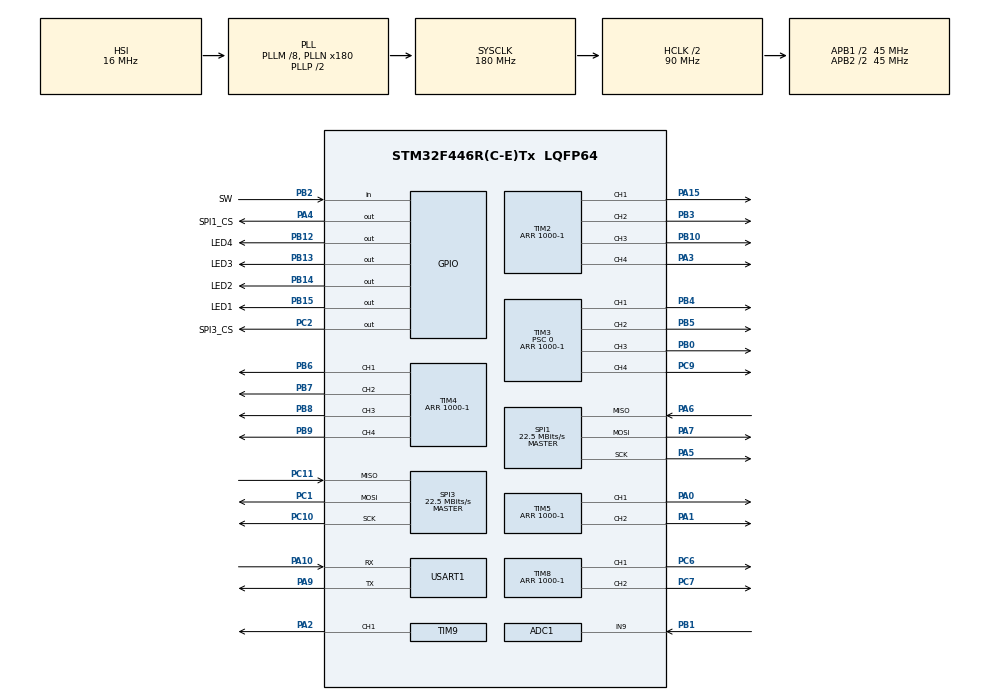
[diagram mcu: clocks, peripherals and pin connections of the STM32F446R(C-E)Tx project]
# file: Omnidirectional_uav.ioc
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ADC1.Channel-4\#ChannelRegularConversion=ADC_CHANNEL_9
ADC1.NbrOfConversionFlag=1
ADC1.Rank-4\#ChannelRegularConversion=1
ADC1.SamplingTime-4\#ChannelRegularConversion=ADC_SAMPLETIME_3CYCLES
ADC1.master=1
Dma.Request0=USART1_RX
Dma.USART1_RX.0.Direction=DMA_PERIPH_TO_MEMORY
Dma.USART1_RX.0.FIFOMode=DMA_FIFOMODE_DISABLE
Dma.USART1_RX.0.Instance=DMA2_Stream2
Dma.USART1_RX.0.MemDataAlignment=DMA_MDATAALIGN_BYTE
Dma.USART1_RX.0.MemInc=DMA_MINC_ENABLE
Dma.USART1_RX.0.Mode=DMA_CIRCULAR
Dma.USART1_RX.0.PeriphDataAlignment=DMA_PDATAALIGN_BYTE
Dma.USART1_RX.0.PeriphInc=DMA_PINC_DISABLE
Dma.USART1_RX.0.Priority=DMA_PRIORITY_LOW
Mcu.Family=STM32F4
Mcu.Name=STM32F446R(C-E)Tx
Mcu.Package=LQFP64
NVIC.DMA2_Stream2_IRQn=true\:0\:0\:false\:false\:true\:false\:true\:true
NVIC.PriorityGroup=NVIC_PRIORITYGROUP_4
NVIC.TIM1_UP_TIM10_IRQn=true\:0\:0\:false\:false\:true\:true\:true\:true
NVIC.TIM8_BRK_TIM12_IRQn=true\:0\:0\:false\:false\:true\:true\:true\:true
NVIC.USART1_IRQn=true\:0\:0\:false\:false\:true\:true\:true\:true
PA0-WKUP.Signal=S_TIM5_CH1
PA1.Signal=S_TIM5_CH2
PA10.Mode=Asynchronous
PA10.Signal=USART1_RX
PA13.Mode=Serial_Wire
PA13.Signal=SYS_JTMS-SWDIO
PA14.Mode=Serial_Wire
PA14.Signal=SYS_JTCK-SWCLK
PA15.Signal=S_TIM2_CH1_ETR
PA2.Signal=S_TIM9_CH1
PA3.Signal=S_TIM2_CH4
PA4.GPIO_Label=SPI1_CS
PA4.Signal=GPIO_Output
PA5.Mode=Full_Duplex_Master
PA5.Signal=SPI1_SCK
PA6.Mode=Full_Duplex_Master
PA6.Signal=SPI1_MISO
PA7.Mode=Full_Duplex_Master
PA7.Signal=SPI1_MOSI
PA9.Mode=Asynchronous
PA9.Signal=USART1_TX
PB0.Signal=S_TIM3_CH3
PB1.Signal=ADCx_IN9
PB10.Signal=S_TIM2_CH3
PB12.GPIO_Label=LED4
PB12.Signal=GPIO_Output
PB13.GPIO_Label=LED3
PB13.Signal=GPIO_Output
PB14.GPIO_Label=LED2
PB14.Signal=GPIO_Output
PB15.GPIO_Label=LED1
PB15.Signal=GPIO_Output
PB2.GPIO_Label=SW
PB2.Signal=GPIO_Input
PB3.Signal=S_TIM2_CH2
PB4.Signal=S_TIM3_CH1
PB5.Signal=S_TIM3_CH2
PB6.Signal=S_TIM4_CH1
PB7.Signal=S_TIM4_CH2
PB8.Signal=S_TIM4_CH3
PB9.Signal=S_TIM4_CH4
PC1.Mode=Full_Duplex_Master
PC1.Signal=SPI3_MOSI
PC10.Mode=Full_Duplex_Master
PC10.Signal=SPI3_SCK
PC11.Mode=Full_Duplex_Master
PC11.Signal=SPI3_MISO
PC2.GPIO_Label=SPI3_CS
PC2.Signal=GPIO_Output
PC6.Signal=S_TIM8_CH1
PC7.Signal=S_TIM8_CH2
PC9.Signal=S_TIM3_CH4
ProjectManager.HeapSize=0x200
ProjectManager.StackSize=0x400
ProjectManager.TargetToolchain=Makefile
RCC.AHBCLKDivider=RCC_SYSCLK_DIV2
RCC.AHBFreq_Value=90000000
RCC.APB1CLKDivider=RCC_HCLK_DIV2
RCC.APB1Freq_Value=45000000
RCC.APB1TimFreq_Value=90000000
RCC.APB2CLKDivider=RCC_HCLK_DIV2
RCC.APB2Freq_Value=45000000
RCC.APB2TimFreq_Value=90000000
RCC.CortexFreq_Value=90000000
RCC.HCLKFreq_Value=90000000
RCC.PLLM=8
RCC.PLLN=180
RCC.SYSCLKFreq_VALUE=180000000
RCC.SYSCLKSource=RCC_SYSCLKSOURCE_PLLCLK
RCC.USBFreq_Value=180000000
RCC.VCOOutputFreq_Value=360000000
SH.ADCx_IN9.0=ADC1_IN9,IN9
SH.S_TIM2_CH1_ETR.0=TIM2_CH1,PWM Generation1 CH1
SH.S_TIM2_CH2.0=TIM2_CH2,PWM Generation2 CH2
SH.S_TIM2_CH3.0=TIM2_CH3,PWM Generation3 CH3
SH.S_TIM2_CH4.0=TIM2_CH4,PWM Generation4 CH4
SH.S_TIM3_CH1.0=TIM3_CH1,PWM Generation1 CH1
SH.S_TIM3_CH2.0=TIM3_CH2,PWM Generation2 CH2
SH.S_TIM3_CH3.0=TIM3_CH3,PWM Generation3 CH3
SH.S_TIM3_CH4.0=TIM3_CH4,PWM Generation4 CH4
SH.S_TIM4_CH1.0=TIM4_CH1,PWM Generation1 CH1
SH.S_TIM4_CH2.0=TIM4_CH2,PWM Generation2 CH2
SH.S_TIM4_CH3.0=TIM4_CH3,PWM Generation3 CH3
SH.S_TIM4_CH4.0=TIM4_CH4,PWM Generation4 CH4
SH.S_TIM5_CH1.0=TIM5_CH1,PWM Generation1 CH1
SH.S_TIM5_CH2.0=TIM5_CH2,PWM Generation2 CH2
SH.S_TIM8_CH1.0=TIM8_CH1,PWM Generation1 CH1
SH.S_TIM8_CH2.0=TIM8_CH2,PWM Generation2 CH2
SH.S_TIM9_CH1.0=TIM9_CH1,PWM Generation1 CH1
SPI1.CalculateBaudRate=22.5 MBits/s
SPI1.Direction=SPI_DIRECTION_2LINES
SPI1.Mode=SPI_MODE_MASTER
SPI1.VirtualType=VM_MASTER
SPI3.BaudRatePrescaler=SPI_BAUDRATEPRESCALER_2
SPI3.CalculateBaudRate=22.5 MBits/s
SPI3.Direction=SPI_DIRECTION_2LINES
SPI3.Mode=SPI_MODE_MASTER
SPI3.VirtualType=VM_MASTER
TIM1.Period=10000-1
TIM1.Prescaler=900-1
TIM12.Period=10000-1
TIM12.Prescaler=90-1
TIM2.Channel-PWM\ Generation1\ CH1=TIM_CHANNEL_1
TIM2.Channel-PWM\ Generation2\ CH2=TIM_CHANNEL_2
TIM2.Channel-PWM\ Generation3\ CH3=TIM_CHANNEL_3
TIM2.Channel-PWM\ Generation4\ CH4=TIM_CHANNEL_4
TIM2.Period=1000-1
TIM3.Channel-PWM\ Generation1\ CH1=TIM_CHANNEL_1
TIM3.Channel-PWM\ Generation2\ CH2=TIM_CHANNEL_2
TIM3.Channel-PWM\ Generation3\ CH3=TIM_CHANNEL_3
TIM3.Channel-PWM\ Generation4\ CH4=TIM_CHANNEL_4
TIM3.Period=1000-1
TIM3.Prescaler=0
TIM4.Channel-PWM\ Generation1\ CH1=TIM_CHANNEL_1
TIM4.Channel-PWM\ Generation2\ CH2=TIM_CHANNEL_2
TIM4.Channel-PWM\ Generation3\ CH3=TIM_CHANNEL_3
TIM4.Channel-PWM\ Generation4\ CH4=TIM_CHANNEL_4
TIM4.Period=1000-1
TIM5.Channel-PWM\ Generation1\ CH1=TIM_CHANNEL_1
TIM5.Channel-PWM\ Generation2\ CH2=TIM_CHANNEL_2
TIM5.Period=1000-1
TIM8.Channel-PWM\ Generation1\ CH1=TIM_CHANNEL_1
TIM8.Channel-PWM\ Generation2\ CH2=TIM_CHANNEL_2
TIM8.Period=1000-1
TIM9.Channel-PWM\ Generation1\ CH1=TIM_CHANNEL_1
TIM9.Period=1000-1
TIM9.Prescaler=90-1
USART1.VirtualMode=VM_ASYNC
VP_TIM12_VS_ClockSourceINT.Mode=Internal
VP_TIM1_VS_ClockSourceINT.Mode=Internal
board=custom

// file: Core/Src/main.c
/* USER CODE BEGIN Header */
/**
 ******************************************************************************
 * @file           : main.c
 * @brief          : Main program body
 ******************************************************************************
 * @attention
 *
 * Copyright (c) 2022 STMicroelectronics.
 * All rights reserved.
 *
 * This software is licensed under terms that can be found in the LICENSE file
 * in the root directory of this software component.
 * If no LICENSE file comes with this software, it is provided AS-IS.
 *
 ******************************************************************************
 */
/* USER CODE END Header */
#include "main.h"
#include "adc.h"
#include "dma.h"
#include "spi.h"
#include "tim.h"
#include "usart.h"
#include "gpio.h"

/* USER CODE BEGIN Includes */
#include "mpu9250.h"
#include "lps25hb.h"
#include "speaker.h"
#include "ahrs.h"
#include "control.h"
/* USER CODE END Includes */

void SystemClock_Config(void);

/* USER CODE BEGIN 0 */
float bat_vol;
const float bat_vol_lim = 7.0f; //[V]
float pressure;
AxesRaw acc, gyro, mag;
AHRS_State ahrs;
MotorInput motor_input;

int count = 0;
extern float bat_vol;
// extern float pressure;
extern AxesRaw acc, gyro, mag;
extern AHRS_State ahrs;

void OutputLog()
{
  // printf("%.3f\r\n", ahrs.euler.y);
  // printf("%.3f\r\n", -atan2(acc.y, -acc.z));
  // printf("%.3f\t%.3f\t%.3f\r\n", ahrs.euler.x, ahrs.euler.y, ahrs.euler.z);

  // float roll = -atan2(acc.y, -acc.z);
  // float pitch = atan2(acc.x, Sqrt(acc.y * acc.y + acc.z * acc.z));
  // float yaw = atan2((-mag.y * cos(roll) + mag.z * sin(roll)), (mag.x * cos(pitch) + mag.y * sin(roll) * sin(pitch) + mag.z * cos(roll) * sin(pitch)));
  // printf("%.3f\r\n", yaw);

  // for magnetometer calibration
  // ReadRawMag(&mag);
  // printf("%.3f, %.3f, %.3f\n", mag.x, mag.y, mag.z);

  // for 2-point suspention
  // printf("%f\n", gyro.x);

  // for measurement of the rotation velocity of propeller
  // about 2.27 [V] max
  // motor_input.voltage[0] = 0.3; // [V]
  // Voltage2Duty(&motor_input, bat_vol);
  // DriveMotor(&motor1, &motor2, &motor3, &motor4,
  //            &motor5, &motor6, &motor7, &motor8, &motor_input);
  // printf("%.3f, %.3f\n", bat_vol, motor_input.duty[0]);

  // printf("%f, %f, %f\n", acc.x, acc.y, acc.z);
  // printf("%f, %f, %f\n", gyro.x, gyro.y, gyro.z);
  // printf("%.3f\r\n", gyro.x);
  // printf("%.3f, %.3f, %.3f\n", mag.x, mag.y, mag.z);
  // printf("%.3f\t%.3f\t%.3f\t%.3f\t\r\n", ahrs.q.q0, ahrs.q.q1, ahrs.q.q2, ahrs.q.q3);

  // printf("pressure = %f\n", pressure);
  // printf("battery = %f\n", bat_vol);

  // printf("%.3f\t%.3f\t%.3f\t%.3f\t%.3f\t%.3f\t%.3f\t%.3f\t\r\n", motor_input.voltage[0], motor_input.voltage[1], motor_input.voltage[2], motor_input.voltage[3],
  //        motor_input.voltage[4], motor_input.voltage[5], motor_input.voltage[6], motor_input.voltage[7]);
  // printf("%.3f\t%.3f\t%.3f\t%.3f\t%.3f\t%.3f\t%.3f\t%.3f\t\r\n", coeff_Fprop[0], coeff_Fprop[1], coeff_Fprop[2], coeff_Fprop[3], coeff_Fprop[4], coeff_Fprop[5], coeff_Fprop[6], coeff_Fprop[7]);
  // printf("%.3f, %.3f, %.3f, %.3f, %.3f, %.3f, %.3f, %.3f\n", coeff_Fprop[0], coeff_Fprop[1], coeff_Fprop[2], coeff_Fprop[3],
  //        coeff_Fprop[4], coeff_Fprop[5], coeff_Fprop[6], coeff_Fprop[7]);

  // printf("invert mode = %d\n", inverted_mode);

  // motor_input.velocity[0] = 100.0; // [rps]
  // CalcInputVoltage(&motor_input);
  // motor_input.voltage[0] = 0.5; // [V]
  // Voltage2Duty(&motor_input, bat_vol);
  // printf("%.3f, %.3f, %.3f, %.3f, %.3f, %.3f, %.3f, %.3f\r\n", motor_input.voltage[0], motor_input.voltage[1], motor_input.voltage[2], motor_input.voltage[3],
  //        motor_input.voltage[4], motor_input.voltage[5], motor_input.voltage[6], motor_input.voltage[7]);
  // printf("%.3f, %.3f, %.3f, %.3f, %.3f, %.3f, %.3f, %.3f\r\n", motor_input.duty[0], motor_input.duty[1], motor_input.duty[2], motor_input.duty[3],
  //        motor_input.duty[4], motor_input.duty[5], motor_input.duty[6], motor_input.duty[7]);

  printf("%.3f, %.3f, %.3f, %.3f, %.3f, %.3f,%.3f, %.3f, %.3f, %.3f, %.3f, %.3f, %.3f\r\n",
         -M_PI / 4.0f - ahrs.euler.y, ahrs.gy, err_pitch_sum, coeff_Tdes[1], bat_vol, motor_input.velocity[0], motor_input.velocity[1], motor_input.velocity[2], motor_input.velocity[3], motor_input.velocity[4], motor_input.velocity[5], motor_input.velocity[6], motor_input.velocity[7]);
}

void HAL_TIM_PeriodElapsedCallback(TIM_HandleTypeDef *htim)
{
  if (htim->Instance == TIM1) // 20Hz interruption
  {
    // UpdateQuaternionControl(&ahrs, &motor_input, &bat_vol);
  }
  if (htim->Instance == TIM12) // 100Hz interruption
  {
    ReadBatteryVoltage(&bat_vol);
    // ReadPressure(&pressure);
    ReadSensor(&acc, &gyro, &mag);
    UpdateAHRS(&acc, &gyro, &mag, &ahrs);
    UpdateControl(&ahrs, &motor_input, bat_vol);

    if (bat_vol > bat_vol_lim)
    {
      Write_GPIO(USER_LED1, 1);
      DriveMotor(&motor1, &motor2, &motor3, &motor4,
                 &motor5, &motor6, &motor7, &motor8, &motor_input);
    }
    else
    {
      Write_GPIO(USER_LED1, 0);
      BrakeMotor(&motor1, &motor2, &motor3, &motor4, &motor5, &motor6, &motor7, &motor8);
    }

    count = (count + 1) % 100;

    if (count == 0) // 1Hz
    {
      Write_GPIO(USER_LED4, 1);
    }
    else
    {
      Write_GPIO(USER_LED4, 0);
    }

    if (count % 20 == 0)
    {
      OutputLog();
    }
  }
}

/* USER CODE END 0 */

int main(void)
{

  /* MCU Configuration--------------------------------------------------------*/

  /* Reset of all peripherals, Initializes the Flash interface and the Systick. */
  HAL_Init();

  /* Configure the system clock */
  SystemClock_Config();

  /* Initialize all configured peripherals */
  MX_GPIO_Init();
  MX_DMA_Init();
  MX_ADC1_Init();
  MX_SPI1_Init();
  MX_TIM1_Init();
  MX_TIM2_Init();
  MX_TIM3_Init();
  MX_TIM4_Init();
  MX_TIM5_Init();
  MX_TIM8_Init();
  MX_TIM9_Init();
  MX_USART1_UART_Init();
  MX_SPI3_Init();
  MX_TIM12_Init();
  /* USER CODE BEGIN 2 */
  Write_GPIO(USER_LED1, 1);
  Motor_TIM_Init();
  Speaker_TIM_Init();

  // start initialization
  Write_GPIO(USER_LED2, 1);
  ReadBatteryVoltage(&bat_vol);
  printf("battery = %f\n", bat_vol);
  InitializeIMU();
  Initialize_LPS25HB();
  CalcAccOffset(&acc);
  CalcGyroOffset(&gyro);
  SetInitialMag(&mag);
  InitializeAHRS(&ahrs);
  InitializeController();
  Write_GPIO(USER_LED2, 0);
  Write_GPIO(USER_LED3, 1);
  TestMotor(&motor1, &motor2, &motor3, &motor4, &motor5, &motor6, &motor7, &motor8);
  Write_GPIO(USER_LED3, 0);

  // float duty = 200;
  // TestMatrix();
  // for (int i = 0; i < 1000; i++)
  // {
  //   UpdateMadgwickFilterIMU(&acc, &gyro, &ahrs);
  //   printf("%.3f\t%.3f\t%.3f\t%.3f\t\r\n", ahrs.q.q0, ahrs.q.q1, ahrs.q.q2, ahrs.q.q3);
  // }

  HAL_TIM_Base_Start_IT(&htim1);
  HAL_TIM_Base_Start_IT(&htim12);
  HAL_UART_Receive_DMA(&huart1, RdBuff, RCV_BUFF_SIZE);
  // inverted_mode = 1;

  /* USER CODE END 2 */

  /* Infinite loop */
  while (1)
  {

    /* USER CODE BEGIN 3 */
    if (Read_GPIO(USER_SW) == 1)
    {
      // BrakeMotor(&motor1, &motor2, &motor3, &motor4, &motor5, &motor6, &motor7, &motor8);
    }
    else
    {
      inverted_mode = 0;
      // if (inverted_mode == 0)
      // {
      //   inverted_mode = 1;
      //   Write_GPIO(USER_LED3, 1);
      // }
      // else if (inverted_mode == 1)
      // {
      //   inverted_mode = 0;
      //   Write_GPIO(USER_LED3, 0);
      // }

      // float duty = 200;
      // HAL_Delay(2000);
      // PWM_Update(&motor1, duty);
      // PWM_Update(&motor2, duty);
      // PWM_Update(&motor3, duty);
      // PWM_Update(&motor4, duty);
      // PWM_Update(&motor5, duty);
      // PWM_Update(&motor6, duty);
      // PWM_Update(&motor7, duty);
      // PWM_Update(&motor8, duty);
      // HAL_Delay(2000);
    }

    // if (rdUart(&rdData) == TRUE)
    // {
    //   SdBuff[rcvLength++] = rdData;
    //   if ((rdData == CHAR_LF) || (rcvLength >= SND_BUFF_SIZE))
    //   {
    //     HAL_UART_Transmit(&huart1, SdBuff, rcvLength, 0xFFFF);
    //     if (Compare_Stop(SdBuff) == TRUE)
    //     {
    //       Write_GPIO(USER_LED2, 1);
    //     }
    //     else
    //     {
    //       Write_GPIO(USER_LED2, 0);
    //     }
    //     rcvLength = 0;
    //   }
    // }
  }
  /* USER CODE END 3 */
}

void SystemClock_Config(void)
{
  RCC_OscInitTypeDef RCC_OscInitStruct = {0};
  RCC_ClkInitTypeDef RCC_ClkInitStruct = {0};

  /** Configure the main internal regulator output voltage
   */
  __HAL_RCC_PWR_CLK_ENABLE();
  __HAL_PWR_VOLTAGESCALING_CONFIG(PWR_REGULATOR_VOLTAGE_SCALE3);

  /** Initializes the RCC Oscillators according to the specified parameters
   * in the RCC_OscInitTypeDef structure.
   */
  RCC_OscInitStruct.OscillatorType = RCC_OSCILLATORTYPE_HSI;
  RCC_OscInitStruct.HSIState = RCC_HSI_ON;
  RCC_OscInitStruct.HSICalibrationValue = RCC_HSICALIBRATION_DEFAULT;
  RCC_OscInitStruct.PLL.PLLState = RCC_PLL_ON;
  RCC_OscInitStruct.PLL.PLLSource = RCC_PLLSOURCE_HSI;
  RCC_OscInitStruct.PLL.PLLM = 8;
  RCC_OscInitStruct.PLL.PLLN = 180;
  RCC_OscInitStruct.PLL.PLLP = RCC_PLLP_DIV2;
  RCC_OscInitStruct.PLL.PLLQ = 2;
  RCC_OscInitStruct.PLL.PLLR = 2;
  if (HAL_RCC_OscConfig(&RCC_OscInitStruct) != HAL_OK)
  {
    Error_Handler();
  }

  /** Initializes the CPU, AHB and APB buses clocks
   */
  RCC_ClkInitStruct.ClockType = RCC_CLOCKTYPE_HCLK | RCC_CLOCKTYPE_SYSCLK | RCC_CLOCKTYPE_PCLK1 | RCC_CLOCKTYPE_PCLK2;
  RCC_ClkInitStruct.SYSCLKSource = RCC_SYSCLKSOURCE_PLLCLK;
  RCC_ClkInitStruct.AHBCLKDivider = RCC_SYSCLK_DIV2;
  RCC_ClkInitStruct.APB1CLKDivider = RCC_HCLK_DIV2;
  RCC_ClkInitStruct.APB2CLKDivider = RCC_HCLK_DIV2;

  if (HAL_RCC_ClockConfig(&RCC_ClkInitStruct, FLASH_LATENCY_2) != HAL_OK)
  {
    Error_Handler();
  }
}

void Error_Handler(void)
{
  __disable_irq();
  while (1)
  {
  }
}
